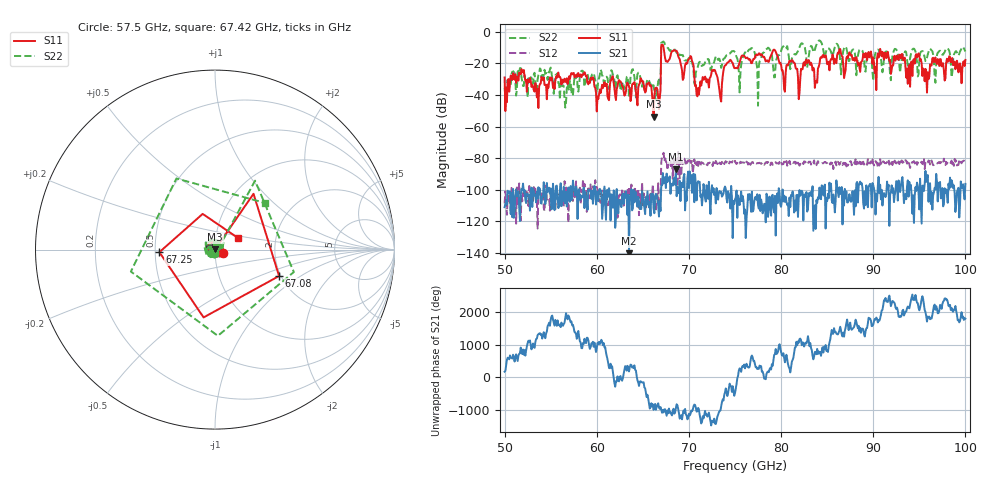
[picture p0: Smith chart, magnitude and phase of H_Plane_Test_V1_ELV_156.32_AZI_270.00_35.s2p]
! 11/27/2026 8:24:44 AM
! C:\ANRITSUVNA\TEMP\TEMP.S2P
! CHANNEL.1
! TR.MEASUREMENT
! RAW.DATA
# HZ S RI R 50.0
! FREQ.HZ  S11RE  S11IM  S21RE  S21IM  S12RE  S12IM  S22RE  S22IM
!; PortSelection: Port_12
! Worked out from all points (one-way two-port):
!   601 points, 50 GHz to 100 GHz, reference 50 ohm
!   highest |S21| = -87.10 dB at 68.58 GHz (marker M1); lowest = -140.0 dB at 63.5 GHz (marker M2)
!   lowest |S11| = -53.7 dB at 66.17 GHz (marker M3), VSWR 1.00, Z = 50.1 + j0.156 ohm
!   |S11| at or under -10 dB: start of sweep to 67 GHz; 67.24 GHz to end of sweep
!   |S22| runs from -48.0 to -5.6 dB; largest |S21 - S12| = 0.00015
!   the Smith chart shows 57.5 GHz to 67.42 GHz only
!   S11 on the Smith chart (normalised r, x): 57.5 GHz: 1.09, -0.05; 67.08 GHz: 1.96, -0.68; 67.25 GHz: 0.53, -0.02; 67.42 GHz: 1.29, +0.17
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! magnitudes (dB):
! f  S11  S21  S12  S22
! 50 GHz  -29.0  -111.0  -108.6  -35.6
! 57.5 GHz  -26.1  -99.2  -97.8  -34.4
! 58.42 GHz  -27.1  -104.1  -101.1  -24.7
! 60.17 GHz  -42.6  -107.2  -102.8  -30.2
! 63.5 GHz  -34.7  -140.0  -98.1  -41.3
! 66.17 GHz  -53.7  -111.9  -106.2  -34.0
! 66.67 GHz  -41.8  -110.0  -95.8  -31.5
! 67.08 GHz  -8.3  -97.1  -78.8  -6.8
! 67.25 GHz  -10.2  -96.0  -76.6  -6.3
! 67.42 GHz  -16.8  -91.9  -80.1  -8.4
! 68.58 GHz  -12.1  -87.1  -79.6  -12.3
! 70.25 GHz  -16.0  -90.7  -83.0  -18.8
! 70.92 GHz  -40.9  -96.0  -82.2  -23.1
! 75 GHz  -23.1  -105.9  -81.7  -13.0
! 77.58 GHz  -13.8  -111.9  -83.1  -21.9
! 78.5 GHz  -18.2  -104.2  -83.0  -10.8
! 79.33 GHz  -11.7  -103.8  -83.0  -28.8
! 80.25 GHz  -27.9  -107.3  -83.7  -9.3
! 83.42 GHz  -24.5  -97.7  -84.1  -10.8
! 91.67 GHz  -16.6  -96.8  -80.7  -15.3
! 95.83 GHz  -38.6  -92.8  -83.0  -16.4
! 100 GHz  -17.9  -96.2  -81.7  -12.6
